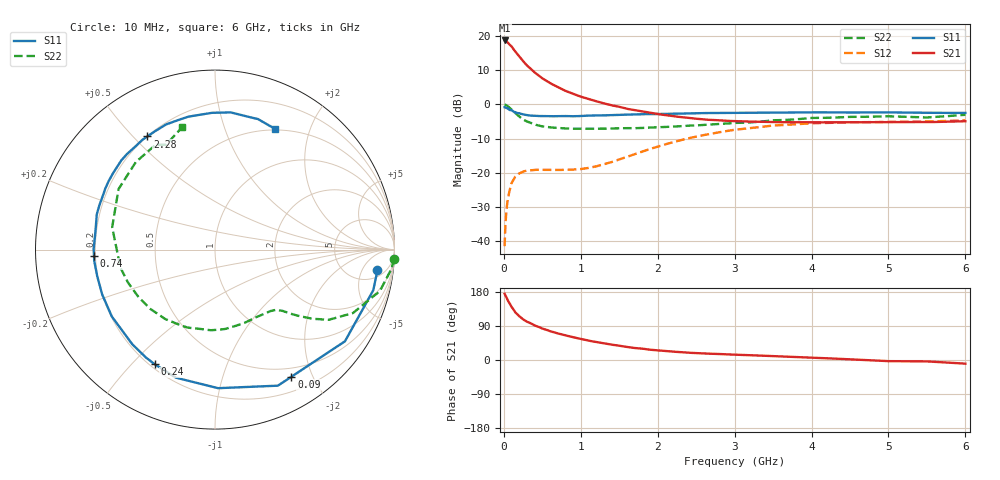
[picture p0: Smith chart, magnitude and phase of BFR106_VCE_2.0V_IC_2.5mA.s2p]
! Infineon Technologies  Discrete & RF Semiconductors
! BFR106
! VCE =  2.0 V,  IC =  2.5 mA
! Common Emitter S-Parameters:  Nov 2015
# GHz  S  MA  R  50
!  f  S11  S21  S12  S22
! GHz  MAG  ANG  MAG  ANG  MAG  ANG  MAG  ANG
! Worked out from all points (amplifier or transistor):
!   210 points, 10 MHz to 6 GHz, reference 50 ohm
!   highest |S21| = 18.8 dB at 10 MHz (marker M1)
!   |S21| within 3 dB of that: start of sweep to 140 MHz
!   unconditionally stable (mu >= 1): 742.4 MHz to 2.196 GHz; 3.179 GHz to end of sweep
!   at 185 MHz: K = 0.27, MSG = 17.5 dB, |S12| = -20.5 dB
!   at 1.52 GHz: K = 1.21, MAG = 4.8 dB, |S12| = -16.0 dB
!   at 6 GHz: K = 1.02, MAG = -1.1 dB, |S12| = -4.7 dB
!   S11 on the Smith chart (normalised r, x): 10 MHz: 7, -10; 90 MHz: 0.38, -1.70; 240 MHz: 0.22, -0.58; 740 MHz: 0.19, -0.03; 2.28 GHz: 0.20, +0.55; 6 GHz: 0.49, +1.51
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0.01  0.9125 -7.3  8.718 174.7  0.0083 86.3  0.9967 -2.9
0.025  0.8983 -17.7  8.505 168.9  0.0204 77.8  0.982 -7.3
0.05  0.8862 -35.2  8.162 157.5  0.0399 70.4  0.9472 -14.1
0.09  0.8264 -59.0  7.288 144.0  0.0637 57.8  0.8636 -22.4
0.1  0.8352 -65.2  7.142 140.2  0.0699 56.0  0.8459 -24.7
0.15  0.7723 -88.7  5.975 125.5  0.0876 44.9  0.7445 -31.7
0.2  0.7461 -107.0  5.101 115.6  0.0972 38.3  0.6655 -35.4
0.24  0.7215 -117.8  4.479 109.0  0.1022 34.1  0.6147 -37.5
0.26  0.7137 -122.7  4.214 106.0  0.1042 32.5  0.5944 -38.4
0.3  0.7002 -131.2  3.748 101.1  0.1069 30.4  0.5633 -39.8
0.4  0.6851 -147.0  2.96 91.2  0.1097 26.6  0.508 -42.2
0.52  0.6744 -160.1  2.347 81.8  0.11 25.6  0.4736 -45.4
0.6  0.6727 -167.2  2.061 76.2  0.1099 26.1  0.4615 -47.9
0.74  0.6751 -177.0  1.713 68.3  0.1094 29.0  0.4495 -53.0
1.02  0.6787 167.4  1.283 54.7  0.1134 39.5  0.4394 -64.4
1.4  0.6993 151.0  0.973 40.6  0.1426 54.3  0.4459 -82.8
2.02  0.7244 129.1  0.719 25.1  0.244 59.5  0.4639 -116.0
2.28  0.7345 120.9  0.657 21.0  0.2952 56.6  0.4787 -130.5
3.1  0.7549 99.2  0.564 13.4  0.4369 40.2  0.5389 -174.1
4.1  0.7674 82.3  0.547 5.6  0.5325 19.3  0.6351 144.7
5.1  0.7632 70.9  0.551 -3.1  0.5575 4.0  0.6657 118.6
6  0.7515 63.4  0.568 -9.6  0.5849 -6.2  0.706 105.0
